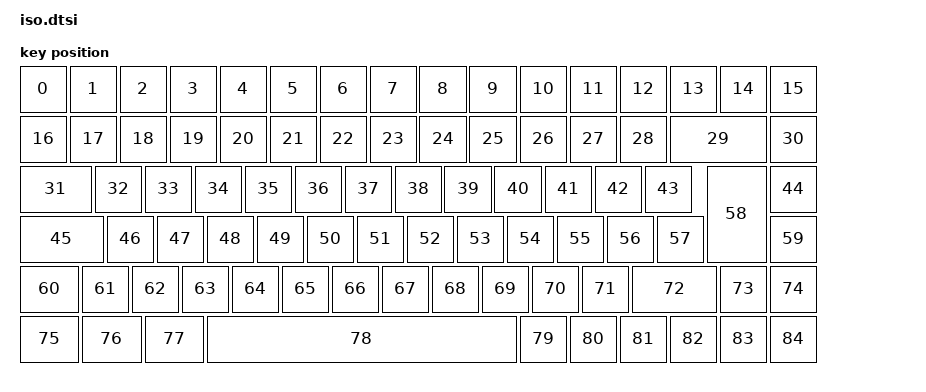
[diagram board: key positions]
#include <layouts/common/75percent/position_map.dtsi>
#include <physical_layouts.dtsi>

/ {
    layout_75_iso: layout_75_iso {
        compatible = "zmk,physical-layout";
        display-name = "75% ISO";

        keys  //                     w   h    x    y     rot    rx    ry
            = <&key_physical_attrs 100 100    0    0       0     0     0>
            , <&key_physical_attrs 100 100  100    0       0     0     0>
            , <&key_physical_attrs 100 100  200    0       0     0     0>
            , <&key_physical_attrs 100 100  300    0       0     0     0>
            , <&key_physical_attrs 100 100  400    0       0     0     0>
            , <&key_physical_attrs 100 100  500    0       0     0     0>
            , <&key_physical_attrs 100 100  600    0       0     0     0>
            , <&key_physical_attrs 100 100  700    0       0     0     0>
            , <&key_physical_attrs 100 100  800    0       0     0     0>
            , <&key_physical_attrs 100 100  900    0       0     0     0>
            , <&key_physical_attrs 100 100 1000    0       0     0     0>
            , <&key_physical_attrs 100 100 1100    0       0     0     0>
            , <&key_physical_attrs 100 100 1200    0       0     0     0>
            , <&key_physical_attrs 100 100 1300    0       0     0     0>
            , <&key_physical_attrs 100 100 1400    0       0     0     0>
            , <&key_physical_attrs 100 100 1500    0       0     0     0>
            , <&key_physical_attrs 100 100    0  100       0     0     0>
            , <&key_physical_attrs 100 100  100  100       0     0     0>
            , <&key_physical_attrs 100 100  200  100       0     0     0>
            , <&key_physical_attrs 100 100  300  100       0     0     0>
            , <&key_physical_attrs 100 100  400  100       0     0     0>
            , <&key_physical_attrs 100 100  500  100       0     0     0>
            , <&key_physical_attrs 100 100  600  100       0     0     0>
            , <&key_physical_attrs 100 100  700  100       0     0     0>
            , <&key_physical_attrs 100 100  800  100       0     0     0>
            , <&key_physical_attrs 100 100  900  100       0     0     0>
            , <&key_physical_attrs 100 100 1000  100       0     0     0>
            , <&key_physical_attrs 100 100 1100  100       0     0     0>
            , <&key_physical_attrs 100 100 1200  100       0     0     0>
            , <&key_physical_attrs 200 100 1300  100       0     0     0>
            , <&key_physical_attrs 100 100 1500  100       0     0     0>
            , <&key_physical_attrs 150 100    0  200       0     0     0>
            , <&key_physical_attrs 100 100  150  200       0     0     0>
            , <&key_physical_attrs 100 100  250  200       0     0     0>
            , <&key_physical_attrs 100 100  350  200       0     0     0>
            , <&key_physical_attrs 100 100  450  200       0     0     0>
            , <&key_physical_attrs 100 100  550  200       0     0     0>
            , <&key_physical_attrs 100 100  650  200       0     0     0>
            , <&key_physical_attrs 100 100  750  200       0     0     0>
            , <&key_physical_attrs 100 100  850  200       0     0     0>
            , <&key_physical_attrs 100 100  950  200       0     0     0>
            , <&key_physical_attrs 100 100 1050  200       0     0     0>
            , <&key_physical_attrs 100 100 1150  200       0     0     0>
            , <&key_physical_attrs 100 100 1250  200       0     0     0>
            , <&key_physical_attrs 100 100 1500  200       0     0     0>
            , <&key_physical_attrs 175 100    0  300       0     0     0>
            , <&key_physical_attrs 100 100  175  300       0     0     0>
            , <&key_physical_attrs 100 100  275  300       0     0     0>
            , <&key_physical_attrs 100 100  375  300       0     0     0>
            , <&key_physical_attrs 100 100  475  300       0     0     0>
            , <&key_physical_attrs 100 100  575  300       0     0     0>
            , <&key_physical_attrs 100 100  675  300       0     0     0>
            , <&key_physical_attrs 100 100  775  300       0     0     0>
            , <&key_physical_attrs 100 100  875  300       0     0     0>
            , <&key_physical_attrs 100 100  975  300       0     0     0>
            , <&key_physical_attrs 100 100 1075  300       0     0     0>
            , <&key_physical_attrs 100 100 1175  300       0     0     0>
            , <&key_physical_attrs 100 100 1275  300       0     0     0>
            , <&key_physical_attrs 125 200 1375  200       0     0     0>
            , <&key_physical_attrs 100 100 1500  300       0     0     0>
            , <&key_physical_attrs 125 100    0  400       0     0     0>
            , <&key_physical_attrs 100 100  125  400       0     0     0>
            , <&key_physical_attrs 100 100  225  400       0     0     0>
            , <&key_physical_attrs 100 100  325  400       0     0     0>
            , <&key_physical_attrs 100 100  425  400       0     0     0>
            , <&key_physical_attrs 100 100  525  400       0     0     0>
            , <&key_physical_attrs 100 100  625  400       0     0     0>
            , <&key_physical_attrs 100 100  725  400       0     0     0>
            , <&key_physical_attrs 100 100  825  400       0     0     0>
            , <&key_physical_attrs 100 100  925  400       0     0     0>
            , <&key_physical_attrs 100 100 1025  400       0     0     0>
            , <&key_physical_attrs 100 100 1125  400       0     0     0>
            , <&key_physical_attrs 175 100 1225  400       0     0     0>
            , <&key_physical_attrs 100 100 1400  400       0     0     0>
            , <&key_physical_attrs 100 100 1500  400       0     0     0>
            , <&key_physical_attrs 125 100    0  500       0     0     0>
            , <&key_physical_attrs 125 100  125  500       0     0     0>
            , <&key_physical_attrs 125 100  250  500       0     0     0>
            , <&key_physical_attrs 625 100  375  500       0     0     0>
            , <&key_physical_attrs 100 100 1000  500       0     0     0>
            , <&key_physical_attrs 100 100 1100  500       0     0     0>
            , <&key_physical_attrs 100 100 1200  500       0     0     0>
            , <&key_physical_attrs 100 100 1300  500       0     0     0>
            , <&key_physical_attrs 100 100 1400  500       0     0     0>
            , <&key_physical_attrs 100 100 1500  500       0     0     0>
            ;
    };
};

&layouts_common_75_percent_position_map {
    layout_75_iso {
        physical-layout = <&layout_75_iso>;
        positions
            = < 0  1  2  3  4  5  6  7  8  9 10 11 12 13 14 15>
            , <16 17 18 19 20 21 22 23 24 25 26 27 28 29 85 30>
            , <31 32 33 34 35 36 37 38 39 40 41 42 43 86 44>
            , <45 46 47 48 49 50 51 52 53 54 55 56 58 59>
            , <60 61 62 63 64 65 66 67 68 69 70 71 72 57 73 74>
            , <75 76 77 78 79 80 81 82 83 84>
            ;
    };
};
